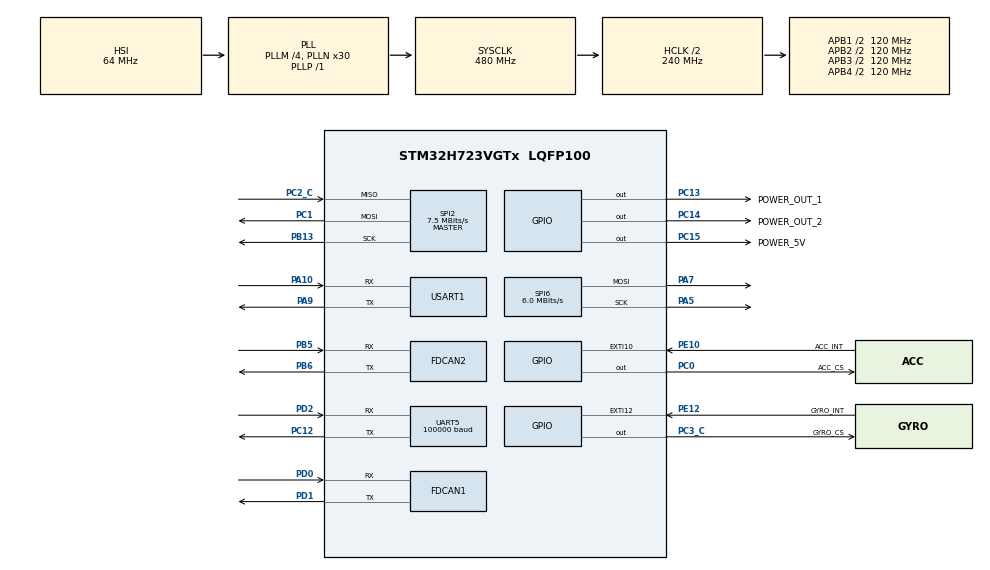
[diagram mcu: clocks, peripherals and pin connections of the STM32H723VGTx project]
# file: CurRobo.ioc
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CORTEX_M7.default_mode_Activation=1
Dma.Request0=SPI2_RX
Dma.Request1=SPI2_TX
Dma.Request2=UART5_RX
Dma.Request3=USART1_TX
Dma.SPI2_RX.0.Direction=DMA_PERIPH_TO_MEMORY
Dma.SPI2_RX.0.EventEnable=DISABLE
Dma.SPI2_RX.0.FIFOMode=DMA_FIFOMODE_DISABLE
Dma.SPI2_RX.0.Instance=DMA1_Stream1
Dma.SPI2_RX.0.MemDataAlignment=DMA_MDATAALIGN_BYTE
Dma.SPI2_RX.0.MemInc=DMA_MINC_ENABLE
Dma.SPI2_RX.0.Mode=DMA_NORMAL
Dma.SPI2_RX.0.PeriphDataAlignment=DMA_PDATAALIGN_BYTE
Dma.SPI2_RX.0.PeriphInc=DMA_PINC_DISABLE
Dma.SPI2_RX.0.Polarity=HAL_DMAMUX_REQ_GEN_RISING
Dma.SPI2_RX.0.Priority=DMA_PRIORITY_VERY_HIGH
Dma.SPI2_RX.0.RequestNumber=1
Dma.SPI2_RX.0.SignalID=NONE
Dma.SPI2_RX.0.SyncEnable=DISABLE
Dma.SPI2_RX.0.SyncPolarity=HAL_DMAMUX_SYNC_NO_EVENT
Dma.SPI2_RX.0.SyncRequestNumber=1
Dma.SPI2_RX.0.SyncSignalID=NONE
Dma.SPI2_TX.1.Direction=DMA_MEMORY_TO_PERIPH
Dma.SPI2_TX.1.EventEnable=DISABLE
Dma.SPI2_TX.1.FIFOMode=DMA_FIFOMODE_DISABLE
Dma.SPI2_TX.1.Instance=DMA1_Stream2
Dma.SPI2_TX.1.MemDataAlignment=DMA_MDATAALIGN_BYTE
Dma.SPI2_TX.1.MemInc=DMA_MINC_ENABLE
Dma.SPI2_TX.1.Mode=DMA_NORMAL
Dma.SPI2_TX.1.PeriphDataAlignment=DMA_PDATAALIGN_BYTE
Dma.SPI2_TX.1.PeriphInc=DMA_PINC_DISABLE
Dma.SPI2_TX.1.Polarity=HAL_DMAMUX_REQ_GEN_RISING
Dma.SPI2_TX.1.Priority=DMA_PRIORITY_HIGH
Dma.SPI2_TX.1.RequestNumber=1
Dma.SPI2_TX.1.SignalID=NONE
Dma.SPI2_TX.1.SyncEnable=DISABLE
Dma.SPI2_TX.1.SyncPolarity=HAL_DMAMUX_SYNC_NO_EVENT
Dma.SPI2_TX.1.SyncRequestNumber=1
Dma.SPI2_TX.1.SyncSignalID=NONE
Dma.UART5_RX.2.Direction=DMA_PERIPH_TO_MEMORY
Dma.UART5_RX.2.EventEnable=DISABLE
Dma.UART5_RX.2.FIFOMode=DMA_FIFOMODE_DISABLE
Dma.UART5_RX.2.Instance=DMA1_Stream0
Dma.UART5_RX.2.MemDataAlignment=DMA_MDATAALIGN_BYTE
Dma.UART5_RX.2.MemInc=DMA_MINC_ENABLE
Dma.UART5_RX.2.Mode=DMA_CIRCULAR
Dma.UART5_RX.2.PeriphDataAlignment=DMA_PDATAALIGN_BYTE
Dma.UART5_RX.2.PeriphInc=DMA_PINC_DISABLE
Dma.UART5_RX.2.Polarity=HAL_DMAMUX_REQ_GEN_RISING
Dma.UART5_RX.2.Priority=DMA_PRIORITY_VERY_HIGH
Dma.UART5_RX.2.RequestNumber=1
Dma.UART5_RX.2.SignalID=NONE
Dma.UART5_RX.2.SyncEnable=DISABLE
Dma.UART5_RX.2.SyncPolarity=HAL_DMAMUX_SYNC_NO_EVENT
Dma.UART5_RX.2.SyncRequestNumber=1
Dma.UART5_RX.2.SyncSignalID=NONE
Dma.USART1_TX.3.Direction=DMA_MEMORY_TO_PERIPH
Dma.USART1_TX.3.EventEnable=DISABLE
Dma.USART1_TX.3.FIFOMode=DMA_FIFOMODE_DISABLE
Dma.USART1_TX.3.Instance=DMA1_Stream3
Dma.USART1_TX.3.MemDataAlignment=DMA_MDATAALIGN_BYTE
Dma.USART1_TX.3.MemInc=DMA_MINC_ENABLE
Dma.USART1_TX.3.Mode=DMA_NORMAL
Dma.USART1_TX.3.PeriphDataAlignment=DMA_PDATAALIGN_BYTE
Dma.USART1_TX.3.PeriphInc=DMA_PINC_DISABLE
Dma.USART1_TX.3.Polarity=HAL_DMAMUX_REQ_GEN_RISING
Dma.USART1_TX.3.Priority=DMA_PRIORITY_LOW
Dma.USART1_TX.3.RequestNumber=1
Dma.USART1_TX.3.SignalID=NONE
Dma.USART1_TX.3.SyncEnable=DISABLE
Dma.USART1_TX.3.SyncPolarity=HAL_DMAMUX_SYNC_NO_EVENT
Dma.USART1_TX.3.SyncRequestNumber=1
Dma.USART1_TX.3.SyncSignalID=NONE
FDCAN1.CalculateBaudRateNominal=1000000
FDCAN1.CalculateTimeBitNominal=1000
FDCAN1.CalculateTimeQuantumNominal=25.0
FDCAN1.DataPrescaler=3
FDCAN1.DataSyncJumpWidth=10
FDCAN1.DataTimeSeg1=29
FDCAN1.DataTimeSeg2=10
FDCAN1.ExtFiltersNbr=1
FDCAN1.NominalPrescaler=3
FDCAN1.NominalSyncJumpWidth=10
FDCAN1.NominalTimeSeg1=29
FDCAN1.NominalTimeSeg2=10
FDCAN1.RxBuffersNbr=0
FDCAN1.RxFifo0ElmtsNbr=16
FDCAN1.RxFifo1ElmtsNbr=0
FDCAN1.TxBuffersNbr=0
FDCAN1.TxEventsNbr=0
FDCAN1.TxFifoQueueElmtsNbr=16
FDCAN2.CalculateBaudRateNominal=1000000
FDCAN2.CalculateTimeBitNominal=1000
FDCAN2.CalculateTimeQuantumNominal=25.0
FDCAN2.DataPrescaler=3
FDCAN2.DataSyncJumpWidth=10
FDCAN2.DataTimeSeg1=29
FDCAN2.DataTimeSeg2=10
FDCAN2.ExtFiltersNbr=1
FDCAN2.MessageRAMOffset=1024
FDCAN2.NominalPrescaler=3
FDCAN2.NominalSyncJumpWidth=10
FDCAN2.NominalTimeSeg1=29
FDCAN2.NominalTimeSeg2=10
FDCAN2.RxFifo0ElmtsNbr=16
FDCAN2.TxFifoQueueElmtsNbr=16
Mcu.Family=STM32H7
Mcu.Name=STM32H723VGTx
Mcu.Package=LQFP100
NVIC.DMA1_Stream0_IRQn=true\:0\:0\:false\:false\:true\:false\:true\:true
NVIC.DMA1_Stream1_IRQn=true\:1\:0\:true\:false\:true\:false\:true\:true
NVIC.DMA1_Stream2_IRQn=true\:2\:0\:true\:false\:true\:false\:true\:true
NVIC.DMA1_Stream3_IRQn=true\:0\:0\:false\:false\:true\:false\:true\:true
NVIC.FDCAN1_IT0_IRQn=true\:2\:0\:true\:false\:true\:true\:true\:true
NVIC.FDCAN2_IT0_IRQn=true\:2\:0\:true\:false\:true\:true\:true\:true
NVIC.PriorityGroup=NVIC_PRIORITYGROUP_4
NVIC.SPI2_IRQn=true\:5\:0\:true\:false\:true\:false\:true\:true
NVIC.TIM6_DAC_IRQn=true\:5\:0\:true\:false\:true\:true\:true\:true
NVIC.UART5_IRQn=true\:0\:0\:false\:false\:true\:true\:true\:true
NVIC.USART1_IRQn=true\:5\:0\:true\:false\:true\:true\:true\:true
PA10.Mode=Asynchronous
PA10.Signal=USART1_RX
PA13(JTMS/SWDIO).Mode=Serial_Wire
PA13(JTMS/SWDIO).Signal=DEBUG_JTMS-SWDIO
PA14(JTCK/SWCLK).Mode=Serial_Wire
PA14(JTCK/SWCLK).Signal=DEBUG_JTCK-SWCLK
PA5.GPIO_Speed=GPIO_SPEED_FREQ_VERY_HIGH
PA5.Mode=TX_Only_Simplex_Unidirect_Master
PA5.Signal=SPI6_SCK
PA7.GPIO_Speed=GPIO_SPEED_FREQ_VERY_HIGH
PA7.Mode=TX_Only_Simplex_Unidirect_Master
PA7.Signal=SPI6_MOSI
PA9.Mode=Asynchronous
PA9.Signal=USART1_TX
PB13.GPIO_Speed=GPIO_SPEED_FREQ_VERY_HIGH
PB13.Mode=Full_Duplex_Master
PB13.Signal=SPI2_SCK
PB5.Mode=FDCAN_Activate
PB5.Signal=FDCAN2_RX
PB6.Mode=FDCAN_Activate
PB6.Signal=FDCAN2_TX
PC0.GPIO_Label=ACC_CS
PC0.GPIO_Speed=GPIO_SPEED_FREQ_VERY_HIGH
PC0.PinState=GPIO_PIN_SET
PC0.Signal=GPIO_Output
PC1.GPIO_Speed=GPIO_SPEED_FREQ_VERY_HIGH
PC1.Mode=Full_Duplex_Master
PC1.Signal=SPI2_MOSI
PC12.Mode=Asynchronous
PC12.Signal=UART5_TX
PC13.GPIO_Label=POWER_OUT_1
PC13.Signal=GPIO_Output
PC14-OSC32_IN.GPIO_Label=POWER_OUT_2
PC14-OSC32_IN.Signal=GPIO_Output
PC15-OSC32_OUT.GPIO_Label=POWER_5V
PC15-OSC32_OUT.Signal=GPIO_Output
PC2_C.GPIO_Speed=GPIO_SPEED_FREQ_VERY_HIGH
PC2_C.Mode=Full_Duplex_Master
PC2_C.Signal=SPI2_MISO
PC3_C.GPIO_Label=GYRO_CS
PC3_C.GPIO_Speed=GPIO_SPEED_FREQ_VERY_HIGH
PC3_C.PinState=GPIO_PIN_SET
PC3_C.Signal=GPIO_Output
PD0.Mode=FDCAN_Activate
PD0.Signal=FDCAN1_RX
PD1.Mode=FDCAN_Activate
PD1.Signal=FDCAN1_TX
PD2.Mode=Asynchronous
PD2.Signal=UART5_RX
PE10.GPIO_Label=ACC_INT
PE10.Signal=GPXTI10
PE12.GPIO_Label=GYRO_INT
PE12.Signal=GPXTI12
PH0-OSC_IN.Mode=HSE-External-Oscillator
PH0-OSC_IN.Signal=RCC_OSC_IN
PH1-OSC_OUT.Mode=HSE-External-Oscillator
PH1-OSC_OUT.Signal=RCC_OSC_OUT
ProjectManager.HeapSize=0x200
ProjectManager.StackSize=0x400
ProjectManager.TargetToolchain=CMake
RCC.ADCFreq_Value=129000000
RCC.APB1Freq_Value=120000000
RCC.APB2Freq_Value=120000000
RCC.APB3Freq_Value=120000000
RCC.APB4Freq_Value=120000000
RCC.CortexFreq_Value=480000000
RCC.D1PPRE=RCC_APB3_DIV2
RCC.D2PPRE1=RCC_APB1_DIV2
RCC.D2PPRE2=RCC_APB2_DIV2
RCC.D3PPRE=RCC_APB4_DIV2
RCC.DIVM1=4
RCC.DIVN1=30
RCC.DIVP1=1
RCC.DIVQ1=4
RCC.HCLKFreq_Value=240000000
RCC.HPRE=RCC_HCLK_DIV2
RCC.HSE_VALUE=24000000
RCC.PLL2FRACN=0
RCC.PLL3FRACN=0
RCC.PLLFRACN=0
RCC.SPI6CLockSelection=RCC_SPI6CLKSOURCE_HSE
RCC.SYSCLKFreq_VALUE=480000000
RCC.SYSCLKSource=RCC_SYSCLKSOURCE_PLLCLK
RCC.USBFreq_Value=120000000
SPI2.BaudRatePrescaler=SPI_BAUDRATEPRESCALER_16
SPI2.CLKPhase=SPI_PHASE_2EDGE
SPI2.CLKPolarity=SPI_POLARITY_HIGH
SPI2.CalculateBaudRate=7.5 MBits/s
SPI2.DataSize=SPI_DATASIZE_8BIT
SPI2.Direction=SPI_DIRECTION_2LINES
SPI2.Mode=SPI_MODE_MASTER
SPI2.VirtualType=VM_MASTER
SPI6.BaudRatePrescaler=SPI_BAUDRATEPRESCALER_4
SPI6.CLKPhase=SPI_PHASE_2EDGE
SPI6.CalculateBaudRate=6.0 MBits/s
SPI6.DataSize=SPI_DATASIZE_8BIT
SPI6.Direction=SPI_DIRECTION_2LINES_TXONLY
SPI6.Mode=SPI_MODE_MASTER
SPI6.VirtualType=VM_MASTER
TIM6.AutoReloadPreload=TIM_AUTORELOAD_PRELOAD_ENABLE
TIM6.Period=1000-1
TIM6.Prescaler=240-1
UART5.BaudRate=100000
UART5.Parity=PARITY_EVEN
UART5.StopBits=UART_STOPBITS_2
UART5.WordLength=WORDLENGTH_9B
USART1.VirtualMode-Asynchronous=VM_ASYNC
VP_MEMORYMAP_VS_MEMORYMAP.Mode=CurAppReg
VP_TIM6_VS_ClockSourceINT.Mode=Enable_Timer
board=custom

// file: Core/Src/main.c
/* USER CODE BEGIN Header */
/**
  ******************************************************************************
  * @file           : main.c
  * @brief          : Main program body
  ******************************************************************************
  * @attention
  *
  * Copyright (c) 2026 STMicroelectronics.
  * All rights reserved.
  *
  * This software is licensed under terms that can be found in the LICENSE file
  * in the root directory of this software component.
  * If no LICENSE file comes with this software, it is provided AS-IS.
  *
  ******************************************************************************
  */
/* USER CODE END Header */
#include "main.h"
#include "dma.h"
#include "fdcan.h"
#include "spi.h"
#include "tim.h"
#include "usart.h"
#include "gpio.h"

/* USER CODE BEGIN Includes */
#include <stdio.h>
#include <math.h>
#include "pipeline.h"
#include "cybergear_motor.h"
#include "cybergear_control.h"
#include "data_update.h"
#include "bsp_usart.h"
#include "app_task.h"
#include "sys_monitor.h"
#include "id_test.h"
/* USER CODE END Includes */

/* USER CODE BEGIN PV */
CyberGear_Motor_t    g_cg_motors[4];  /* 电机对象数组: FL/RL/FR/RR */
CyberGear_CtrlNode_t g_cg_ctrl[4];   /* 控制节点数组 */
uint8_t              g_cg_motor_count = 4;
float gyro[3], accel[3], temp;
/* USER CODE END PV */

void SystemClock_Config(void);
static void MPU_Config(void);

int main(void)
{

  /* MPU Configuration--------------------------------------------------------*/
  MPU_Config();

  /* MCU Configuration--------------------------------------------------------*/

  /* Reset of all peripherals, Initializes the Flash interface and the Systick. */
  HAL_Init();

  /* Configure the system clock */
  SystemClock_Config();

  /* Initialize all configured peripherals */
  MX_GPIO_Init();
  MX_DMA_Init();
  MX_FDCAN1_Init();
  MX_SPI6_Init();
  MX_FDCAN2_Init();
  MX_USART1_UART_Init();
  MX_SPI2_Init();
  MX_UART5_Init();
  MX_TIM6_Init();
  /* USER CODE BEGIN 2 */

  pipeline_init();
#if ID_SCAN_TEST
  id_test_init();
#else
  app_task_init();
#if SYS_MONITOR
  sys_monitor_init();
#endif
#endif

  /* USER CODE END 2 */

  /* Infinite loop */
  while (1)
  {

    /* USER CODE BEGIN 3 */

#if ID_SCAN_TEST
    id_test_run();
#else
    app_task_run();
#if SYS_MONITOR
    sys_monitor_run();
#endif
#endif
  }
  /* USER CODE END 3 */
}

void SystemClock_Config(void)
{
  RCC_OscInitTypeDef RCC_OscInitStruct = {0};
  RCC_ClkInitTypeDef RCC_ClkInitStruct = {0};

  /** Supply configuration update enable
  */
  HAL_PWREx_ConfigSupply(PWR_LDO_SUPPLY);

  /** Configure the main internal regulator output voltage
  */
  __HAL_PWR_VOLTAGESCALING_CONFIG(PWR_REGULATOR_VOLTAGE_SCALE0);

  while(!__HAL_PWR_GET_FLAG(PWR_FLAG_VOSRDY)) {}

  /** Initializes the RCC Oscillators according to the specified parameters
  * in the RCC_OscInitTypeDef structure.
  */
  RCC_OscInitStruct.OscillatorType = RCC_OSCILLATORTYPE_HSI|RCC_OSCILLATORTYPE_HSE;
  RCC_OscInitStruct.HSEState = RCC_HSE_ON;
  RCC_OscInitStruct.HSIState = RCC_HSI_DIV1;
  RCC_OscInitStruct.HSICalibrationValue = 64;
  RCC_OscInitStruct.PLL.PLLState = RCC_PLL_ON;
  RCC_OscInitStruct.PLL.PLLSource = RCC_PLLSOURCE_HSI;
  RCC_OscInitStruct.PLL.PLLM = 4;
  RCC_OscInitStruct.PLL.PLLN = 30;
  RCC_OscInitStruct.PLL.PLLP = 1;
  RCC_OscInitStruct.PLL.PLLQ = 4;
  RCC_OscInitStruct.PLL.PLLR = 2;
  RCC_OscInitStruct.PLL.PLLRGE = RCC_PLL1VCIRANGE_3;
  RCC_OscInitStruct.PLL.PLLVCOSEL = RCC_PLL1VCOWIDE;
  RCC_OscInitStruct.PLL.PLLFRACN = 0;
  if (HAL_RCC_OscConfig(&RCC_OscInitStruct) != HAL_OK)
  {
    Error_Handler();
  }

  /** Initializes the CPU, AHB and APB buses clocks
  */
  RCC_ClkInitStruct.ClockType = RCC_CLOCKTYPE_HCLK|RCC_CLOCKTYPE_SYSCLK
                              |RCC_CLOCKTYPE_PCLK1|RCC_CLOCKTYPE_PCLK2
                              |RCC_CLOCKTYPE_D3PCLK1|RCC_CLOCKTYPE_D1PCLK1;
  RCC_ClkInitStruct.SYSCLKSource = RCC_SYSCLKSOURCE_PLLCLK;
  RCC_ClkInitStruct.SYSCLKDivider = RCC_SYSCLK_DIV1;
  RCC_ClkInitStruct.AHBCLKDivider = RCC_HCLK_DIV2;
  RCC_ClkInitStruct.APB3CLKDivider = RCC_APB3_DIV2;
  RCC_ClkInitStruct.APB1CLKDivider = RCC_APB1_DIV2;
  RCC_ClkInitStruct.APB2CLKDivider = RCC_APB2_DIV2;
  RCC_ClkInitStruct.APB4CLKDivider = RCC_APB4_DIV2;

  if (HAL_RCC_ClockConfig(&RCC_ClkInitStruct, FLASH_LATENCY_3) != HAL_OK)
  {
    Error_Handler();
  }
}

 /* MPU Configuration */

void MPU_Config(void)
{
  MPU_Region_InitTypeDef MPU_InitStruct = {0};

  /* Disables the MPU */
  HAL_MPU_Disable();

  /** Initializes and configures the Region and the memory to be protected
  */
  MPU_InitStruct.Enable = MPU_REGION_ENABLE;
  MPU_InitStruct.Number = MPU_REGION_NUMBER0;
  MPU_InitStruct.BaseAddress = 0x0;
  MPU_InitStruct.Size = MPU_REGION_SIZE_4GB;
  MPU_InitStruct.SubRegionDisable = 0x87;
  MPU_InitStruct.TypeExtField = MPU_TEX_LEVEL0;
  MPU_InitStruct.AccessPermission = MPU_REGION_NO_ACCESS;
  MPU_InitStruct.DisableExec = MPU_INSTRUCTION_ACCESS_DISABLE;
  MPU_InitStruct.IsShareable = MPU_ACCESS_SHAREABLE;
  MPU_InitStruct.IsCacheable = MPU_ACCESS_NOT_CACHEABLE;
  MPU_InitStruct.IsBufferable = MPU_ACCESS_NOT_BUFFERABLE;

  HAL_MPU_ConfigRegion(&MPU_InitStruct);
  /* Enables the MPU */
  HAL_MPU_Enable(MPU_PRIVILEGED_DEFAULT);

}

void Error_Handler(void)
{
  __disable_irq();
  while (1)
  {
  }
}
